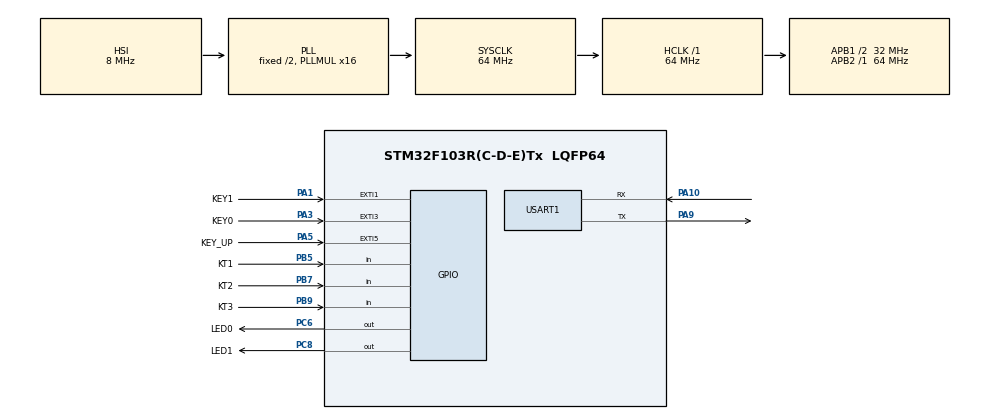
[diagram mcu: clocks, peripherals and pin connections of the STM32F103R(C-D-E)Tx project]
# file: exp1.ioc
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IWDG.Prescaler=IWDG_PRESCALER_64
IWDG.Reload=625
Mcu.Family=STM32F1
Mcu.Name=STM32F103R(C-D-E)Tx
Mcu.Package=LQFP64
NVIC.EXTI1_IRQn=true\:0\:0\:false\:false\:true\:true\:true\:true
NVIC.EXTI3_IRQn=true\:0\:0\:false\:false\:true\:true\:true\:true
NVIC.EXTI9_5_IRQn=true\:0\:0\:false\:false\:true\:true\:true\:true
NVIC.PriorityGroup=NVIC_PRIORITYGROUP_4
PA1.GPIO_Label=KEY1
PA1.GPIO_ModeDefaultEXTI=GPIO_MODE_IT_FALLING
PA1.GPIO_PuPd=GPIO_PULLUP
PA1.Signal=GPXTI1
PA10.Mode=Asynchronous
PA10.Signal=USART1_RX
PA13.Mode=Serial_Wire
PA13.Signal=SYS_JTMS-SWDIO
PA14.Mode=Serial_Wire
PA14.Signal=SYS_JTCK-SWCLK
PA3.GPIO_Label=KEY0
PA3.GPIO_ModeDefaultEXTI=GPIO_MODE_IT_FALLING
PA3.GPIO_PuPd=GPIO_PULLUP
PA3.Signal=GPXTI3
PA5.GPIO_Label=KEY_UP
PA5.GPIO_ModeDefaultEXTI=GPIO_MODE_IT_RISING
PA5.GPIO_PuPd=GPIO_PULLDOWN
PA5.Signal=GPXTI5
PA9.Mode=Asynchronous
PA9.Signal=USART1_TX
PB5.GPIO_Label=KT1
PB5.GPIO_PuPd=GPIO_PULLUP
PB5.Signal=GPIO_Input
PB7.GPIO_Label=KT2
PB7.GPIO_PuPd=GPIO_PULLUP
PB7.Signal=GPIO_Input
PB9.GPIO_Label=KT3
PB9.GPIO_PuPd=GPIO_PULLUP
PB9.Signal=GPIO_Input
PC6.GPIO_Label=LED0
PC6.GPIO_PuPd=GPIO_NOPULL
PC6.GPIO_Speed=GPIO_SPEED_FREQ_HIGH
PC6.PinState=GPIO_PIN_SET
PC6.Signal=GPIO_Output
PC8.GPIO_Label=LED1
PC8.GPIO_Speed=GPIO_SPEED_FREQ_HIGH
PC8.PinState=GPIO_PIN_SET
PC8.Signal=GPIO_Output
ProjectManager.HeapSize=0x200
ProjectManager.StackSize=0x400
ProjectManager.TargetToolchain=MDK-ARM V5.32
RCC.AHBFreq_Value=64000000
RCC.APB1CLKDivider=RCC_HCLK_DIV2
RCC.APB1Freq_Value=32000000
RCC.APB1TimFreq_Value=64000000
RCC.APB2Freq_Value=64000000
RCC.APB2TimFreq_Value=64000000
RCC.HCLKFreq_Value=64000000
RCC.PLLMUL=RCC_PLL_MUL16
RCC.SYSCLKFreq_VALUE=64000000
RCC.SYSCLKSource=RCC_SYSCLKSOURCE_PLLCLK
RCC.USBFreq_Value=64000000
USART1.VirtualMode=VM_ASYNC
VP_IWDG_VS_IWDG.Mode=IWDG_Activate
board=custom

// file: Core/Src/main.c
/* USER CODE BEGIN Header */
/**
  ******************************************************************************
  * @file           : main.c
  * @brief          : Main program body
  ******************************************************************************
  * @attention
  *
  * Copyright (c) 2024 STMicroelectronics.
  * All rights reserved.
  *
  * This software is licensed under terms that can be found in the LICENSE file
  * in the root directory of this software component.
  * If no LICENSE file comes with this software, it is provided AS-IS.
  *
  ******************************************************************************
  */
/* USER CODE END Header */
#include "main.h"
#include "iwdg.h"
#include "usart.h"
#include "gpio.h"

void SystemClock_Config(void);

/* USER CODE BEGIN 0 */
void Delay(void) {
	uint32_t u = 1000000;
	while (u--);
}

typedef enum _E_TASK {
	TASK_1=1,
	TASK_2,
	TASK_3,
	TASK_4,
	TASK_5,
	TASK_6,
	TASK_CNT,
} E_TASK;

E_TASK get_task(void){
	if (HAL_GPIO_ReadPin(KT1_GPIO_Port, KT1_Pin) == 0) {
		return TASK_1;
	}else if (HAL_GPIO_ReadPin(KT2_GPIO_Port, KT2_Pin) == 0) {
		return TASK_3;
	}else if (HAL_GPIO_ReadPin(KT3_GPIO_Port, KT3_Pin) == 0) {
		return TASK_5;
	}
	return TASK_CNT;
}

E_TASK task;

void HAL_GPIO_EXTI_Callback(uint16_t GPIO_Pin)
{
  /* Prevent unused argument(s) compilation warning */
  UNUSED(GPIO_Pin);
  /* NOTE: This function Should not be modified, when the callback is needed,
           the HAL_GPIO_EXTI_Callback could be implemented in the user file
   */
	if (task == TASK_5) {
		HAL_IWDG_Refresh(&hiwdg);
		HAL_UART_Transmit(&huart1, (uint8_t*)"Feed dog\n", 9, 10);
	}else if (task == TASK_3) {
		if (GPIO_Pin != KEY0_Pin) {
			Delay();
			if ((HAL_GPIO_ReadPin(KEY1_GPIO_Port, KEY1_Pin) == 0) ||
				HAL_GPIO_ReadPin(KEY_UP_GPIO_Port, KEY_UP_Pin) == 1) {
					HAL_GPIO_TogglePin(LED0_GPIO_Port, LED0_Pin);
					HAL_UART_Transmit(&huart1, (uint8_t*)"LED0 Tog\n", 9, 10);
				}
		}
		if (GPIO_Pin != KEY1_Pin) {
			Delay();
			if ((HAL_GPIO_ReadPin(KEY0_GPIO_Port, KEY0_Pin) == 0) ||
				HAL_GPIO_ReadPin(KEY_UP_GPIO_Port, KEY_UP_Pin) == 1) {
					HAL_GPIO_TogglePin(LED1_GPIO_Port, LED1_Pin);
					HAL_UART_Transmit(&huart1, (uint8_t*)"LED1 Tog\n", 9, 10);
				}
		}
	}

}

/* USER CODE END 0 */

int main(void)
{

  /* MCU Configuration--------------------------------------------------------*/

  /* Reset of all peripherals, Initializes the Flash interface and the Systick. */
  HAL_Init();

  /* Configure the system clock */
  SystemClock_Config();

  /* Initialize all configured peripherals */
  MX_GPIO_Init();
  MX_USART1_UART_Init();
  /* USER CODE BEGIN 2 */
	task = get_task();
	if (task == TASK_5) {
		MX_IWDG_Init();
		HAL_GPIO_WritePin(LED0_GPIO_Port, LED0_Pin, GPIO_PIN_SET);
		HAL_GPIO_WritePin(LED1_GPIO_Port, LED1_Pin, GPIO_PIN_SET);
		HAL_Delay(200);
		HAL_UART_Transmit(&huart1, (uint8_t*)"Init\n", 5, 10);
		HAL_GPIO_WritePin(LED0_GPIO_Port, LED0_Pin, GPIO_PIN_RESET);
		HAL_GPIO_WritePin(LED1_GPIO_Port, LED1_Pin, GPIO_PIN_RESET);
	}
  /* USER CODE END 2 */

  /* Infinite loop */
  /* USER CODE BEGIN WHILE */
  while (1)
  {
		if (task == TASK_5) {
			HAL_Delay(100);
			HAL_UART_Transmit(&huart1, (uint8_t*)"loop\n", 5, 10);
		} else if (task == TASK_1) {
			HAL_GPIO_WritePin(LED0_GPIO_Port, LED0_Pin, GPIO_PIN_SET);
			HAL_GPIO_WritePin(LED1_GPIO_Port, LED1_Pin, GPIO_PIN_RESET);
			HAL_Delay(500);
			HAL_GPIO_WritePin(LED0_GPIO_Port, LED0_Pin, GPIO_PIN_RESET);
			HAL_GPIO_WritePin(LED1_GPIO_Port, LED1_Pin, GPIO_PIN_SET);
			HAL_Delay(500);
		}
    /* USER CODE END WHILE */

  }
}

void SystemClock_Config(void)
{
  RCC_OscInitTypeDef RCC_OscInitStruct = {0};
  RCC_ClkInitTypeDef RCC_ClkInitStruct = {0};

  /** Initializes the RCC Oscillators according to the specified parameters
  * in the RCC_OscInitTypeDef structure.
  */
  RCC_OscInitStruct.OscillatorType = RCC_OSCILLATORTYPE_HSI|RCC_OSCILLATORTYPE_LSI;
  RCC_OscInitStruct.HSIState = RCC_HSI_ON;
  RCC_OscInitStruct.HSICalibrationValue = RCC_HSICALIBRATION_DEFAULT;
  RCC_OscInitStruct.LSIState = RCC_LSI_ON;
  RCC_OscInitStruct.PLL.PLLState = RCC_PLL_ON;
  RCC_OscInitStruct.PLL.PLLSource = RCC_PLLSOURCE_HSI_DIV2;
  RCC_OscInitStruct.PLL.PLLMUL = RCC_PLL_MUL16;
  if (HAL_RCC_OscConfig(&RCC_OscInitStruct) != HAL_OK)
  {
    Error_Handler();
  }

  /** Initializes the CPU, AHB and APB buses clocks
  */
  RCC_ClkInitStruct.ClockType = RCC_CLOCKTYPE_HCLK|RCC_CLOCKTYPE_SYSCLK
                              |RCC_CLOCKTYPE_PCLK1|RCC_CLOCKTYPE_PCLK2;
  RCC_ClkInitStruct.SYSCLKSource = RCC_SYSCLKSOURCE_PLLCLK;
  RCC_ClkInitStruct.AHBCLKDivider = RCC_SYSCLK_DIV1;
  RCC_ClkInitStruct.APB1CLKDivider = RCC_HCLK_DIV2;
  RCC_ClkInitStruct.APB2CLKDivider = RCC_HCLK_DIV1;

  if (HAL_RCC_ClockConfig(&RCC_ClkInitStruct, FLASH_LATENCY_2) != HAL_OK)
  {
    Error_Handler();
  }
}

void Error_Handler(void)
{
  __disable_irq();
  while (1)
  {
  }
}
